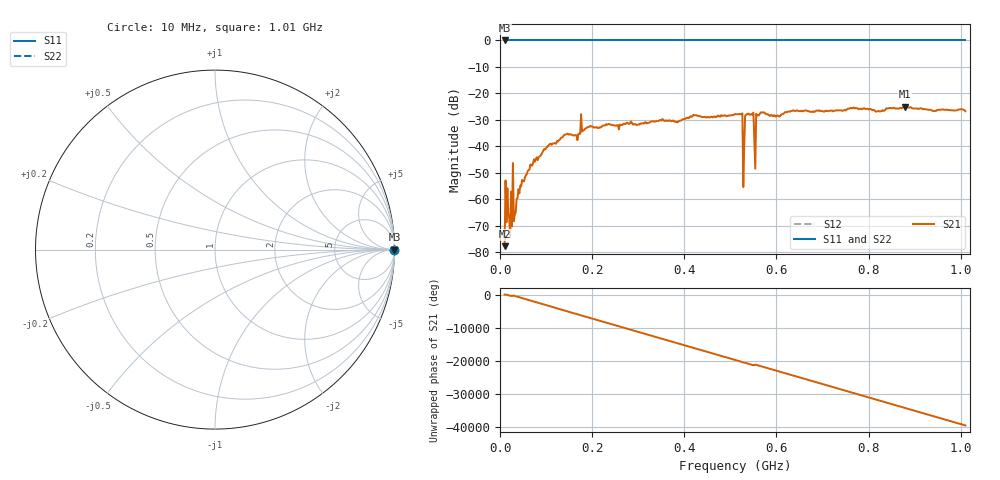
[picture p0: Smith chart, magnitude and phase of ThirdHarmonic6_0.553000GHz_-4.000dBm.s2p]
! 8/15/2025 5:31:33 PM
! C:\ANRITSUVNA\TEMP\TEMP.S2P
! CHANNEL.1
! TR.MEASUREMENT
! RAW.DATA
! RF.CORRECTION.OFF
! AVERAGING.OFF
! IF.BANDWIDTH: 5KHZ
! SWEEPTYPE:  FREQ.SWEEP(Linear)
! Reference Plane Port Info
! PORT:  PORT1  PORT2
! DISTANCE:  0  m  0  m
! TIME:  0  s  0  s
! PHASE.OFFSET:  0  deg.  0  deg.
! LOSS:  0  dB  0  dB
! REF.LOSS:  0  dB  0  dB
! REF.FREQ:  0  Hz  0  Hz
! Power Info
! POWER:  -20  dBm  -20  dBm
! EFF.POWER:  -20  dBm  -20  dBm
! SOURCE.ATTEN:  0  dB  0  dB
! TEST.ATTEN:  0  dB  0  dB
# GHZ S RI R 50.0
! FREQ.GHZ  S11RE  S11IM  S21RE  S21IM  S12RE  S12IM  S22RE  S22IM
!; PortSelection: Port_12
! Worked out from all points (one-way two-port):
!   501 points, 10 MHz to 1.01 GHz, reference 50 ohm
!   highest |S21| = -24.97 dB at 878 MHz (marker M1); lowest = -77.8 dB at 10 MHz (marker M2)
!   lowest |S11| = 0.0 dB at 10 MHz (marker M3)
!   |S11| at or under -10 dB: nowhere
!   |S22| runs from 0.0 to 0.0 dB; largest |S21 - S12| = 1.1
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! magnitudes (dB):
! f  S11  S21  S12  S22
! 10 MHz  0.0  -77.8  0.0  0.0
! 16 MHz  0.0  -55.8  0.0  0.0
! 22 MHz  0.0  -74.3  0.0  0.0
! 28 MHz  0.0  -46.3  0.0  0.0
! 34 MHz  0.0  -65.1  0.0  0.0
! 44 MHz  0.0  -54.8  0.0  0.0
! 70 MHz  0.0  -47.3  0.0  0.0
! 178 MHz  0.0  -34.4  0.0  0.0
! 344 MHz  0.0  -30.4  0.0  0.0
! 510 MHz  0.0  -27.8  0.0  0.0
! 522 MHz  0.0  -27.8  0.0  0.0
! 526 MHz  0.0  -27.6  0.0  0.0
! 532 MHz  0.0  -28.5  0.0  0.0
! 536 MHz  0.0  -27.9  0.0  0.0
! 546 MHz  0.0  -27.8  0.0  0.0
! 556 MHz  0.0  -27.7  0.0  0.0
! 560 MHz  0.0  -28.2  0.0  0.0
! 568 MHz  0.0  -27.2  0.0  0.0
! 678 MHz  0.0  -27.0  0.0  0.0
! 844 MHz  0.0  -25.6  0.0  0.0
! 878 MHz  0.0  -25.0  0.0  0.0
! 1.01 GHz  0.0  -26.8  0.0  0.0
